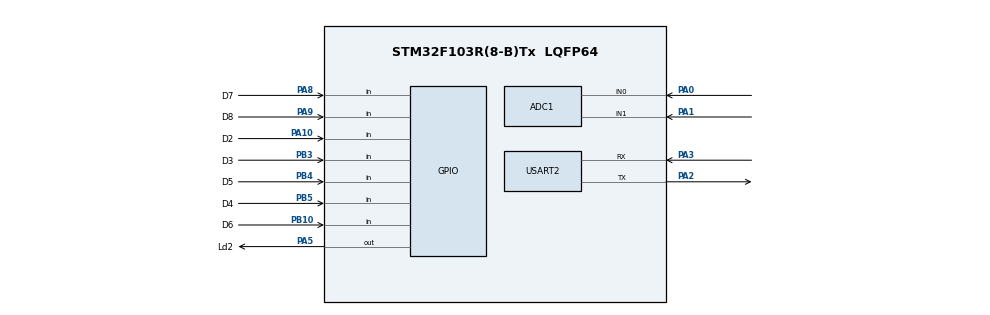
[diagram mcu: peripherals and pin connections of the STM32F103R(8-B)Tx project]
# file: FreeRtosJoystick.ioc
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ADC1.Channel-3\#ChannelRegularConversion=ADC_CHANNEL_0
ADC1.Channel-4\#ChannelRegularConversion=ADC_CHANNEL_1
ADC1.ContinuousConvMode=ENABLE
ADC1.NbrOfConversion=2
ADC1.NbrOfConversionFlag=1
ADC1.Rank-3\#ChannelRegularConversion=1
ADC1.Rank-4\#ChannelRegularConversion=2
ADC1.SamplingTime-3\#ChannelRegularConversion=ADC_SAMPLETIME_239CYCLES_5
ADC1.SamplingTime-4\#ChannelRegularConversion=ADC_SAMPLETIME_239CYCLES_5
ADC1.master=1
Dma.ADC1.0.Direction=DMA_PERIPH_TO_MEMORY
Dma.ADC1.0.Instance=DMA1_Channel1
Dma.ADC1.0.MemDataAlignment=DMA_MDATAALIGN_WORD
Dma.ADC1.0.MemInc=DMA_MINC_ENABLE
Dma.ADC1.0.Mode=DMA_CIRCULAR
Dma.ADC1.0.PeriphDataAlignment=DMA_PDATAALIGN_WORD
Dma.ADC1.0.PeriphInc=DMA_PINC_DISABLE
Dma.ADC1.0.Priority=DMA_PRIORITY_LOW
Dma.Request0=ADC1
FREERTOS.BinarySemaphores01=JsSem,Dynamic,NULL;BtnSem,Dynamic,NULL
FREERTOS.Tasks01=defaultTask,-2,128,defaultTaskFunc,Default,NULL,Dynamic,NULL,NULL;JsUartTask,0,128,JsUartTaskFunc,Default,NULL,Dynamic,NULL,NULL;BtnUartTask,0,128,BtnUartTaskFunc,Default,NULL,Dynamic,NULL,NULL
FREERTOS.configUSE_NEWLIB_REENTRANT=1
Mcu.Family=STM32F1
Mcu.Name=STM32F103R(8-B)Tx
Mcu.Package=LQFP64
NVIC.DMA1_Channel1_IRQn=true\:5\:0\:false\:false\:true\:true\:false\:true\:true
NVIC.PriorityGroup=NVIC_PRIORITYGROUP_4
NVIC.TIM1_UP_IRQn=true\:5\:0\:false\:false\:true\:true\:true\:true\:true
NVIC.TIM4_IRQn=true\:15\:0\:false\:false\:true\:false\:false\:true\:true
NVIC.TimeBase=TIM4_IRQn
NVIC.TimeBaseIP=TIM4
PA0-WKUP.Signal=ADCx_IN0
PA1.Signal=ADCx_IN1
PA10.GPIO_Label=D2
PA10.Signal=GPIO_Input
PA13.Mode=Serial_Wire
PA13.Signal=SYS_JTMS-SWDIO
PA14.Mode=Serial_Wire
PA14.Signal=SYS_JTCK-SWCLK
PA2.Mode=Asynchronous
PA2.Signal=USART2_TX
PA3.Mode=Asynchronous
PA3.Signal=USART2_RX
PA5.GPIO_Label=Ld2
PA5.Signal=GPIO_Output
PA8.GPIO_Label=D7
PA8.Signal=GPIO_Input
PA9.GPIO_Label=D8
PA9.Signal=GPIO_Input
PB10.GPIO_Label=D6
PB10.Signal=GPIO_Input
PB3.GPIO_Label=D3
PB3.Signal=GPIO_Input
PB4.GPIO_Label=D5
PB4.Signal=GPIO_Input
PB5.GPIO_Label=D4
PB5.Signal=GPIO_Input
ProjectManager.HeapSize=0x200
ProjectManager.StackSize=0x400
ProjectManager.TargetToolchain=STM32CubeIDE
RCC.APB1Freq_Value=8000000
RCC.APB2Freq_Value=8000000
SH.ADCx_IN0.0=ADC1_IN0,IN0
SH.ADCx_IN1.0=ADC1_IN1,IN1
TIM1.AutoReloadPreload=TIM_AUTORELOAD_PRELOAD_ENABLE
TIM1.Period=150
TIM1.Prescaler=3999
USART2.VirtualMode=VM_ASYNC
VP_FREERTOS_VS_CMSIS_V1.Mode=CMSIS_V1
VP_SYS_VS_tim4.Mode=TIM4
VP_TIM1_VS_ClockSourceINT.Mode=Internal
board=custom

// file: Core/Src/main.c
/* USER CODE BEGIN Header */
/**
  ******************************************************************************
  * @file           : main.c
  * @brief          : Main program body
  ******************************************************************************
  * @attention
  *
  * Copyright (c) 2023 STMicroelectronics.
  * All rights reserved.
  *
  * This software is licensed under terms that can be found in the LICENSE file
  * in the root directory of this software component.
  * If no LICENSE file comes with this software, it is provided AS-IS.
  *
  ******************************************************************************
  */
/* USER CODE END Header */
#include "main.h"
#include "cmsis_os.h"

/* USER CODE BEGIN Includes */
#include "stdlib.h"
#include "stdio.h"
/* USER CODE END Includes */

ADC_HandleTypeDef hadc1;
DMA_HandleTypeDef hdma_adc1;

TIM_HandleTypeDef htim1;

UART_HandleTypeDef huart2;

osThreadId defaultTaskHandle;
osThreadId JsUartTaskHandle;
osThreadId BtnUartTaskHandle;
osSemaphoreId JsSemHandle;
osSemaphoreId BtnSemHandle;
/* USER CODE BEGIN PV */
uint32_t js_buf[2], old_js_buf[2];
/* USER CODE END PV */

void SystemClock_Config(void);
static void MX_GPIO_Init(void);
static void MX_DMA_Init(void);
static void MX_ADC1_Init(void);
static void MX_USART2_UART_Init(void);
static void MX_TIM1_Init(void);
void defaultTaskFunc(void const * argument);
void JsUartTaskFunc(void const * argument);
void BtnUartTaskFunc(void const * argument);

int main(void)
{

  /* MCU Configuration--------------------------------------------------------*/

  /* Reset of all peripherals, Initializes the Flash interface and the Systick. */
  HAL_Init();

  /* Configure the system clock */
  SystemClock_Config();

  /* Initialize all configured peripherals */
  MX_GPIO_Init();
  MX_DMA_Init();
  MX_ADC1_Init();
  MX_USART2_UART_Init();
  MX_TIM1_Init();
  /* USER CODE BEGIN 2 */
  HAL_ADC_Start_DMA(&hadc1, js_buf , 2);
  /* USER CODE END 2 */

  /* Create the semaphores(s) */
  /* definition and creation of JsSem */
  osSemaphoreDef(JsSem);
  JsSemHandle = osSemaphoreCreate(osSemaphore(JsSem), 1);

  /* definition and creation of BtnSem */
  osSemaphoreDef(BtnSem);
  BtnSemHandle = osSemaphoreCreate(osSemaphore(BtnSem), 1);

  /* USER CODE BEGIN RTOS_QUEUES */
  /* add queues, ... */
  HAL_TIM_Base_Start_IT(&htim1);
  /* USER CODE END RTOS_QUEUES */

  /* Create the thread(s) */
  /* definition and creation of defaultTask */
  osThreadDef(defaultTask, defaultTaskFunc, osPriorityLow, 0, 128);
  defaultTaskHandle = osThreadCreate(osThread(defaultTask), NULL);

  /* definition and creation of JsUartTask */
  osThreadDef(JsUartTask, JsUartTaskFunc, osPriorityNormal, 0, 128);
  JsUartTaskHandle = osThreadCreate(osThread(JsUartTask), NULL);

  /* definition and creation of BtnUartTask */
  osThreadDef(BtnUartTask, BtnUartTaskFunc, osPriorityNormal, 0, 128);
  BtnUartTaskHandle = osThreadCreate(osThread(BtnUartTask), NULL);

  /* Start scheduler */
  osKernelStart();

  /* We should never get here as control is now taken by the scheduler */
  /* Infinite loop */
  while (1)
  {

  }
}

void SystemClock_Config(void)
{
  RCC_OscInitTypeDef RCC_OscInitStruct = {0};
  RCC_ClkInitTypeDef RCC_ClkInitStruct = {0};
  RCC_PeriphCLKInitTypeDef PeriphClkInit = {0};

  /** Initializes the RCC Oscillators according to the specified parameters
  * in the RCC_OscInitTypeDef structure.
  */
  RCC_OscInitStruct.OscillatorType = RCC_OSCILLATORTYPE_HSI;
  RCC_OscInitStruct.HSIState = RCC_HSI_ON;
  RCC_OscInitStruct.HSICalibrationValue = RCC_HSICALIBRATION_DEFAULT;
  RCC_OscInitStruct.PLL.PLLState = RCC_PLL_NONE;
  if (HAL_RCC_OscConfig(&RCC_OscInitStruct) != HAL_OK)
  {
    Error_Handler();
  }

  /** Initializes the CPU, AHB and APB buses clocks
  */
  RCC_ClkInitStruct.ClockType = RCC_CLOCKTYPE_HCLK|RCC_CLOCKTYPE_SYSCLK
                              |RCC_CLOCKTYPE_PCLK1|RCC_CLOCKTYPE_PCLK2;
  RCC_ClkInitStruct.SYSCLKSource = RCC_SYSCLKSOURCE_HSI;
  RCC_ClkInitStruct.AHBCLKDivider = RCC_SYSCLK_DIV1;
  RCC_ClkInitStruct.APB1CLKDivider = RCC_HCLK_DIV1;
  RCC_ClkInitStruct.APB2CLKDivider = RCC_HCLK_DIV1;

  if (HAL_RCC_ClockConfig(&RCC_ClkInitStruct, FLASH_LATENCY_0) != HAL_OK)
  {
    Error_Handler();
  }
  PeriphClkInit.PeriphClockSelection = RCC_PERIPHCLK_ADC;
  PeriphClkInit.AdcClockSelection = RCC_ADCPCLK2_DIV2;
  if (HAL_RCCEx_PeriphCLKConfig(&PeriphClkInit) != HAL_OK)
  {
    Error_Handler();
  }
}

static void MX_ADC1_Init(void)
{

  ADC_ChannelConfTypeDef sConfig = {0};

  /** Common config
  */
  hadc1.Instance = ADC1;
  hadc1.Init.ScanConvMode = ADC_SCAN_ENABLE;
  hadc1.Init.ContinuousConvMode = ENABLE;
  hadc1.Init.DiscontinuousConvMode = DISABLE;
  hadc1.Init.ExternalTrigConv = ADC_SOFTWARE_START;
  hadc1.Init.DataAlign = ADC_DATAALIGN_RIGHT;
  hadc1.Init.NbrOfConversion = 2;
  if (HAL_ADC_Init(&hadc1) != HAL_OK)
  {
    Error_Handler();
  }

  /** Configure Regular Channel
  */
  sConfig.Channel = ADC_CHANNEL_0;
  sConfig.Rank = ADC_REGULAR_RANK_1;
  sConfig.SamplingTime = ADC_SAMPLETIME_239CYCLES_5;
  if (HAL_ADC_ConfigChannel(&hadc1, &sConfig) != HAL_OK)
  {
    Error_Handler();
  }

  /** Configure Regular Channel
  */
  sConfig.Channel = ADC_CHANNEL_1;
  sConfig.Rank = ADC_REGULAR_RANK_2;
  if (HAL_ADC_ConfigChannel(&hadc1, &sConfig) != HAL_OK)
  {
    Error_Handler();
  }

}

static void MX_TIM1_Init(void)
{

  TIM_ClockConfigTypeDef sClockSourceConfig = {0};
  TIM_MasterConfigTypeDef sMasterConfig = {0};

  htim1.Instance = TIM1;
  htim1.Init.Prescaler = 3999;
  htim1.Init.CounterMode = TIM_COUNTERMODE_UP;
  htim1.Init.Period = 150;
  htim1.Init.ClockDivision = TIM_CLOCKDIVISION_DIV1;
  htim1.Init.RepetitionCounter = 0;
  htim1.Init.AutoReloadPreload = TIM_AUTORELOAD_PRELOAD_ENABLE;
  if (HAL_TIM_Base_Init(&htim1) != HAL_OK)
  {
    Error_Handler();
  }
  sClockSourceConfig.ClockSource = TIM_CLOCKSOURCE_INTERNAL;
  if (HAL_TIM_ConfigClockSource(&htim1, &sClockSourceConfig) != HAL_OK)
  {
    Error_Handler();
  }
  sMasterConfig.MasterOutputTrigger = TIM_TRGO_RESET;
  sMasterConfig.MasterSlaveMode = TIM_MASTERSLAVEMODE_DISABLE;
  if (HAL_TIMEx_MasterConfigSynchronization(&htim1, &sMasterConfig) != HAL_OK)
  {
    Error_Handler();
  }

}

static void MX_USART2_UART_Init(void)
{

  huart2.Instance = USART2;
  huart2.Init.BaudRate = 115200;
  huart2.Init.WordLength = UART_WORDLENGTH_8B;
  huart2.Init.StopBits = UART_STOPBITS_1;
  huart2.Init.Parity = UART_PARITY_NONE;
  huart2.Init.Mode = UART_MODE_TX_RX;
  huart2.Init.HwFlowCtl = UART_HWCONTROL_NONE;
  huart2.Init.OverSampling = UART_OVERSAMPLING_16;
  if (HAL_UART_Init(&huart2) != HAL_OK)
  {
    Error_Handler();
  }

}

static void MX_DMA_Init(void)
{

  /* DMA controller clock enable */
  __HAL_RCC_DMA1_CLK_ENABLE();

  /* DMA interrupt init */
  /* DMA1_Channel1_IRQn interrupt configuration */
  HAL_NVIC_SetPriority(DMA1_Channel1_IRQn, 5, 0);
  HAL_NVIC_EnableIRQ(DMA1_Channel1_IRQn);

}

static void MX_GPIO_Init(void)
{
  GPIO_InitTypeDef GPIO_InitStruct = {0};

  /* GPIO Ports Clock Enable */
  __HAL_RCC_GPIOA_CLK_ENABLE();
  __HAL_RCC_GPIOB_CLK_ENABLE();

  /*Configure GPIO pin Output Level */
  HAL_GPIO_WritePin(Ld2_GPIO_Port, Ld2_Pin, GPIO_PIN_RESET);

  /*Configure GPIO pin : Ld2_Pin */
  GPIO_InitStruct.Pin = Ld2_Pin;
  GPIO_InitStruct.Mode = GPIO_MODE_OUTPUT_PP;
  GPIO_InitStruct.Pull = GPIO_NOPULL;
  GPIO_InitStruct.Speed = GPIO_SPEED_FREQ_LOW;
  HAL_GPIO_Init(Ld2_GPIO_Port, &GPIO_InitStruct);

  /*Configure GPIO pins : D6_Pin D3_Pin D5_Pin D4_Pin */
  GPIO_InitStruct.Pin = D6_Pin|D3_Pin|D5_Pin|D4_Pin;
  GPIO_InitStruct.Mode = GPIO_MODE_INPUT;
  GPIO_InitStruct.Pull = GPIO_NOPULL;
  HAL_GPIO_Init(GPIOB, &GPIO_InitStruct);

  /*Configure GPIO pins : D7_Pin D8_Pin D2_Pin */
  GPIO_InitStruct.Pin = D7_Pin|D8_Pin|D2_Pin;
  GPIO_InitStruct.Mode = GPIO_MODE_INPUT;
  GPIO_InitStruct.Pull = GPIO_NOPULL;
  HAL_GPIO_Init(GPIOA, &GPIO_InitStruct);

}

void defaultTaskFunc(void const * argument)
{
  for(;;)
  {
    osDelay(1);
  }
}

void JsUartTaskFunc(void const * argument)
{
  /* USER CODE BEGIN JsUartTaskFunc */
  /* Infinite loop */
	uint8_t js[10] = {'j'};
	js[9] = ' ';
	const int d = 1000;
	int cnt = 0;

  for(;;)
  {
    osSemaphoreWait(JsSemHandle, osWaitForever);

    cnt = 0;
    for (int i = 1; i <= 8; i++)
    	js[i] = '0';

    for (int i = 0; i < 2; i++)
    {
    	if (abs((int)js_buf[i] - (int)old_js_buf[i]) >= d )
		{
			cnt++;
			old_js_buf[i] = js_buf[i];
		}
    }

    if (cnt != 0)
    {

    	snprintf(&(js[1]), 5, "%d", (int) js_buf[0]);
    	snprintf(&(js[5]), 5, "%d", (int) js_buf[1]);
    	js[9] = ' ';

    	HAL_UART_Transmit(&huart2, js, sizeof(js), 500);
    	HAL_GPIO_TogglePin(Ld2_GPIO_Port,Ld2_Pin);

    }

  }
  /* USER CODE END JsUartTaskFunc */
}

void BtnUartTaskFunc(void const * argument)
{
  /* USER CODE BEGIN BtnUartTaskFunc */
  /* Infinite loop */
	uint8_t btns[9] = {'b'};
	uint8_t old_btns[9] = {};
	btns[8] = ' ';
	const uint8_t checked = '1', unchecked = '0';
	int cnt = 0;

  for(;;)
  {
	  osSemaphoreWait(BtnSemHandle, osWaitForever);

	  for (int i = 1; i < 8; i++)
	  {
		  btns[i] = unchecked;
	  }

	  cnt = 0;

	  if (!HAL_GPIO_ReadPin(GPIOA, GPIO_PIN_10)) { btns[1] = checked; }
	  if (!HAL_GPIO_ReadPin(GPIOB, GPIO_PIN_3)) { btns[2] = checked; }
	  if (!HAL_GPIO_ReadPin(GPIOB, GPIO_PIN_5)) { btns[3] = checked; }
	  if (!HAL_GPIO_ReadPin(GPIOB, GPIO_PIN_4)) { btns[4] = checked; }
	  if (!HAL_GPIO_ReadPin(GPIOB, GPIO_PIN_10)) { btns[5] = checked; }
	  if (!HAL_GPIO_ReadPin(GPIOA, GPIO_PIN_8)) { btns[6] = checked; }
	  if (!HAL_GPIO_ReadPin(GPIOA, GPIO_PIN_9)) { btns[7] = checked; }

	  for (int i = 1; i < 8; i++)
		  if (old_btns[i] != btns[i])
			  cnt = 8;

	  if (cnt > 0)
	  {
		  HAL_GPIO_TogglePin(Ld2_GPIO_Port,Ld2_Pin);
		  HAL_UART_Transmit(&huart2, btns, sizeof(btns), 500);
	  }

	  for (int i = 0; i < 9; i++)
	  		  old_btns[i] = btns[i];
  }
  /* USER CODE END BtnUartTaskFunc */
}

void HAL_TIM_PeriodElapsedCallback(TIM_HandleTypeDef *htim)
{
  if (htim->Instance == TIM4) {
    HAL_IncTick();
  }
  /* USER CODE BEGIN Callback 1 */
  if (htim == &htim1)
  {
	  osSemaphoreRelease(BtnSemHandle);
	  osSemaphoreRelease(JsSemHandle);

  }
  /* USER CODE END Callback 1 */
}

void Error_Handler(void)
{
  __disable_irq();
  while (1)
  {
  }
}
